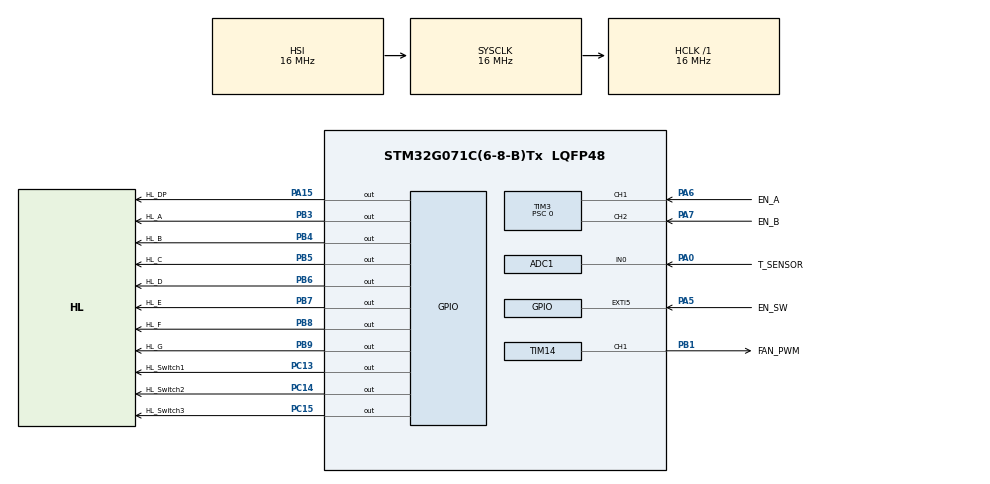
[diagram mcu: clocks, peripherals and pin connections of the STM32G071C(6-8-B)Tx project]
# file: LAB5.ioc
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ADC1.Channel-0\#ChannelRegularConversion=ADC_CHANNEL_0
ADC1.NbrOfConversionFlag=1
ADC1.Rank-0\#ChannelRegularConversion=1
ADC1.SamplingTime-0\#ChannelRegularConversion=ADC_SAMPLINGTIME_COMMON_1
ADC1.SamplingTimeCommon1=ADC_SAMPLETIME_160CYCLES_5
ADC1.SelectedChannel=ADC_CHANNEL_0
ADC1.master=1
Dma.ADC1.0.Direction=DMA_PERIPH_TO_MEMORY
Dma.ADC1.0.EventEnable=DISABLE
Dma.ADC1.0.Instance=DMA1_Channel1
Dma.ADC1.0.MemDataAlignment=DMA_MDATAALIGN_HALFWORD
Dma.ADC1.0.MemInc=DMA_MINC_ENABLE
Dma.ADC1.0.Mode=DMA_CIRCULAR
Dma.ADC1.0.PeriphDataAlignment=DMA_PDATAALIGN_HALFWORD
Dma.ADC1.0.PeriphInc=DMA_PINC_DISABLE
Dma.ADC1.0.Polarity=HAL_DMAMUX_REQ_GEN_RISING
Dma.ADC1.0.Priority=DMA_PRIORITY_LOW
Dma.ADC1.0.RequestNumber=1
Dma.ADC1.0.SignalID=NONE
Dma.ADC1.0.SyncEnable=DISABLE
Dma.ADC1.0.SyncPolarity=HAL_DMAMUX_SYNC_NO_EVENT
Dma.ADC1.0.SyncRequestNumber=1
Dma.ADC1.0.SyncSignalID=NONE
Dma.Request0=ADC1
Mcu.Family=STM32G0
Mcu.Name=STM32G071C(6-8-B)Tx
Mcu.Package=LQFP48
NVIC.DMA1_Channel1_IRQn=true\:0\:0\:false\:false\:true\:false\:true\:true
NVIC.EXTI4_15_IRQn=true\:0\:0\:false\:false\:true\:true\:true\:true
NVIC.TIM14_IRQn=true\:0\:0\:false\:false\:true\:true\:true\:true
NVIC.TIM2_IRQn=true\:0\:0\:false\:false\:true\:true\:true\:true
NVIC.TIM3_IRQn=true\:0\:0\:false\:false\:true\:true\:true\:true
NVIC.TIM6_DAC_LPTIM1_IRQn=true\:0\:0\:false\:false\:true\:true\:true\:true
PA0.GPIO_Label=T_SENSOR
PA0.Mode=IN0
PA0.Signal=ADC1_IN0
PA15.GPIO_Label=HL_DP
PA15.GPIO_ModeDefaultOutputPP=GPIO_MODE_OUTPUT_OD
PA15.GPIO_PuPd=GPIO_PULLUP
PA15.Signal=GPIO_Output
PA5.GPIO_Label=EN_SW
PA5.GPIO_ModeDefaultEXTI=GPIO_MODE_IT_RISING_FALLING
PA5.GPIO_PuPd=GPIO_PULLDOWN
PA5.Signal=GPXTI5
PA6.GPIO_Label=EN_A
PA6.GPIO_PuPd=GPIO_PULLUP
PA6.Signal=S_TIM3_CH1
PA7.GPIO_Label=EN_B
PA7.GPIO_PuPd=GPIO_PULLUP
PA7.Signal=S_TIM3_CH2
PB1.GPIO_Label=FAN_PWM
PB1.Signal=S_TIM14_CH1
PB3.GPIO_Label=HL_A
PB3.GPIO_ModeDefaultOutputPP=GPIO_MODE_OUTPUT_OD
PB3.GPIO_PuPd=GPIO_PULLUP
PB3.Signal=GPIO_Output
PB4.GPIO_Label=HL_B
PB4.GPIO_ModeDefaultOutputPP=GPIO_MODE_OUTPUT_OD
PB4.GPIO_PuPd=GPIO_PULLUP
PB4.Signal=GPIO_Output
PB5.GPIO_Label=HL_C
PB5.GPIO_ModeDefaultOutputPP=GPIO_MODE_OUTPUT_OD
PB5.GPIO_PuPd=GPIO_PULLUP
PB5.Signal=GPIO_Output
PB6.GPIO_Label=HL_D
PB6.GPIO_ModeDefaultOutputPP=GPIO_MODE_OUTPUT_OD
PB6.GPIO_PuPd=GPIO_PULLUP
PB6.Signal=GPIO_Output
PB7.GPIO_Label=HL_E
PB7.GPIO_ModeDefaultOutputPP=GPIO_MODE_OUTPUT_OD
PB7.GPIO_PuPd=GPIO_PULLUP
PB7.GPIO_Speed=GPIO_SPEED_FREQ_LOW
PB7.Signal=GPIO_Output
PB8.GPIO_Label=HL_F
PB8.GPIO_ModeDefaultOutputPP=GPIO_MODE_OUTPUT_OD
PB8.GPIO_PuPd=GPIO_PULLUP
PB8.Signal=GPIO_Output
PB9.GPIO_Label=HL_G
PB9.GPIO_ModeDefaultOutputPP=GPIO_MODE_OUTPUT_OD
PB9.GPIO_PuPd=GPIO_PULLUP
PB9.Signal=GPIO_Output
PC13.GPIO_Label=HL_Switch1
PC13.GPIO_ModeDefaultOutputPP=GPIO_MODE_OUTPUT_OD
PC13.GPIO_PuPd=GPIO_PULLUP
PC13.Signal=GPIO_Output
PC14-OSC32_IN\ (PC14).GPIO_Label=HL_Switch2
PC14-OSC32_IN\ (PC14).GPIO_ModeDefaultOutputPP=GPIO_MODE_OUTPUT_OD
PC14-OSC32_IN\ (PC14).GPIO_PuPd=GPIO_PULLUP
PC14-OSC32_IN\ (PC14).Signal=GPIO_Output
PC15-OSC32_OUT\ (PC15).GPIO_Label=HL_Switch3
PC15-OSC32_OUT\ (PC15).GPIO_ModeDefaultOutputPP=GPIO_MODE_OUTPUT_OD
PC15-OSC32_OUT\ (PC15).GPIO_PuPd=GPIO_PULLUP
PC15-OSC32_OUT\ (PC15).Signal=GPIO_Output
ProjectManager.HeapSize=0x200
ProjectManager.StackSize=0x400
ProjectManager.TargetToolchain=STM32CubeIDE
RCC.AHBFreq_Value=16000000
RCC.CortexFreq_Value=16000000
RCC.EXTERNAL_CLOCK_VALUE=48000
RCC.HCLKFreq_Value=16000000
RCC.HSE_VALUE=8000000
RCC.HSI_VALUE=16000000
RCC.LSE_VALUE=32768
RCC.SYSCLKFreq_VALUE=16000000
RCC.VCOOutputFreq_Value=128000000
SH.S_TIM14_CH1.0=TIM14_CH1,PWM Generation1 CH1
SH.S_TIM3_CH1.0=TIM3_CH1,Encoder_Interface
SH.S_TIM3_CH2.0=TIM3_CH2,Encoder_Interface
TIM14.Channel=TIM_CHANNEL_1
TIM14.Period=1000-1
TIM14.Prescaler=16-1
TIM2.Period=1000-1
TIM2.Prescaler=1600-1
TIM3.Period=65535
TIM3.Prescaler=0
TIM6.Period=10
TIM6.Prescaler=8000-1
VP_TIM14_VS_ClockSourceINT.Mode=Enable_Timer
VP_TIM2_VS_ClockSourceINT.Mode=Internal
VP_TIM6_VS_ClockSourceINT.Mode=Enable_Timer
board=custom

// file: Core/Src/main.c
/* USER CODE BEGIN Header */
/**
  ******************************************************************************
  * @file           : main.c
  * @brief          : Main program body
  ******************************************************************************
  * @attention
  *
  * Copyright (c) 2023 STMicroelectronics.
  * All rights reserved.
  *
  * This software is licensed under terms that can be found in the LICENSE file
  * in the root directory of this software component.
  * If no LICENSE file comes with this software, it is provided AS-IS.
  *
  ******************************************************************************
  */
/* USER CODE END Header */
#include "main.h"

/* USER CODE BEGIN Includes */
#include "filter_sma.h"
/* USER CODE END Includes */

/* USER CODE BEGIN PD */
#define A 0.0000264f
#define B 0.0024f
#define C 112.69f

#define PID_FAN_CYCLE_MAX 1000
#define PID_FAN_CYCLE_MIN 50
#define PID_FAN_CYCLE_START 100

#define MENU_POS_MAX 5
#define MENU_POS_MIN 1

#define NULL_FLASH 0xffffffff
#define NUM_SETTING 4

/* USER CODE END PD */

ADC_HandleTypeDef hadc1;
DMA_HandleTypeDef hdma_adc1;

TIM_HandleTypeDef htim2;
TIM_HandleTypeDef htim3;
TIM_HandleTypeDef htim6;
TIM_HandleTypeDef htim14;

void SystemClock_Config(void);
static void MX_GPIO_Init(void);
static void MX_DMA_Init(void);
static void MX_ADC1_Init(void);
static void MX_TIM2_Init(void);
static void MX_TIM3_Init(void);
static void MX_TIM6_Init(void);
static void MX_TIM14_Init(void);
/* USER CODE BEGIN PFP */
void LedPrint();
/* USER CODE END PFP */

/* USER CODE BEGIN 0 */

//---------------------------
float pwmFAN = 100;
float targetTemp = 20;
float targetTempEncoder = 20;

float Kp = 50;
float Ki = 0;
float Kd = 0;

int16_t KEncoder = 0;

float errPrev = 0;
float errCur = 0;
float errInteg = 0;
float errDiff = 0;

uint32_t timeCountMs = 0;

//----------------------------

uint16_t ADC_raw[1];
float temp = 0;
uint8_t sch_100ms = 255;

//----------------------------

uint8_t R1 = 0, R2 = 0, R3 = 0;

uint8_t segmentNumber[]={
		0x3f, // 0
		0x06, // 1
		0x5b, // 2
		0x4f, // 3
		0x66, // 4
		0x6d, // 5
		0x7d, // 6
		0x07, // 7
		0x7f, // 8
		0x67, // 9
		0x40, // - (10)
		0x00, // off (11)
		0x6d, // S (12)
		0x77, // A (13)
		0x3e, // V - U (14)
		0x73, // p (15)
		0x5e, // d	(16)
		0x30 // I (17)
};

//------------------------------

uint32_t prevCounter = 0;

uint8_t posMenu = 1;
uint8_t posMenuPID_Edit = 1;
uint8_t flagMenu = 0;
uint8_t flagMenuEditHidden = 0;
uint8_t flagMenuEdit = 0;
uint8_t flagMenuEditPID = 0;
uint8_t flagDot[3] = {0,0,0};

uint32_t counthidden = 0;

//------------------------------

const uint32_t flashAddress = 0x0801f800;

//------------------------------

void TempMeasure()
{
	uint16_t buf = 0;

	HAL_ADC_Start_IT(&hadc1);
	buf = ADC_raw[0];
	buf = Filter_Sma(ADC_raw[0]);
	temp = A*buf*buf;
	temp+= B*buf;
	temp-= C;

	sch_100ms = 0;

}

void FanPIDRegulator()
{
	float timeCountSec = (float)timeCountMs / 1000;

	errCur = temp - targetTemp;

	if ( (((Ki*errInteg)<=PID_FAN_CYCLE_MAX) && (errCur >=0)) || (((Ki*errInteg)>=PID_FAN_CYCLE_MIN) && (errCur < 0)) )
	{
		errInteg += errCur*timeCountSec;
	}

	errDiff = (errCur - errPrev)/timeCountSec;

	pwmFAN = Kp*errCur + Ki*errCur + Kd*errCur;

	if (pwmFAN < PID_FAN_CYCLE_MIN)
	{
		pwmFAN = PID_FAN_CYCLE_MIN;
	}
	if (pwmFAN > PID_FAN_CYCLE_MAX)
	{
		pwmFAN = PID_FAN_CYCLE_MAX;
	}

	//TIM14->CCR1 = (uint16_t)pwmFAN;
	errPrev = errCur;
	timeCountMs = 0;

}

void SetNumber(uint8_t number, uint8_t flag)
{
	number = segmentNumber[number];

	HAL_GPIO_WritePin(GPIOB, HL_A_Pin, !((number>>0)&0x01));
	HAL_GPIO_WritePin(GPIOB, HL_B_Pin, !((number>>1)&0x01));
	HAL_GPIO_WritePin(GPIOB, HL_C_Pin, !((number>>2)&0x01));
	HAL_GPIO_WritePin(GPIOB, HL_D_Pin, !((number>>3)&0x01));
	HAL_GPIO_WritePin(GPIOB, HL_E_Pin, !((number>>4)&0x01));
	HAL_GPIO_WritePin(GPIOB, HL_F_Pin, !((number>>5)&0x01));
	HAL_GPIO_WritePin(GPIOB, HL_G_Pin, !((number>>6)&0x01));
	HAL_GPIO_WritePin(GPIOA,HL_DP_Pin, flag==1 ? GPIO_PIN_RESET : GPIO_PIN_SET);

}

void LoadSetting()
{
	uint32_t address = flashAddress;
	uint32_t data[NUM_SETTING] = {0,};

	for(uint16_t i = 0;i<NUM_SETTING;i++)
	{
		uint32_t buf = *(uint32_t*)address;
		if (buf != NULL_FLASH)
		{
			data[i] = buf;
		}
		address+=8;
		//address+=4;
	}

	targetTemp = (data[0]!=0)?((float)data[0]/10):20;
	targetTempEncoder = targetTemp;
	Kp = (data[1]!=0)?data[1]:50;
	Ki = (data[2]!=0)?data[2]:0;
	Kd = (data[3]!=0)?data[3]:0;
}

void SaveSetting()
{
	static FLASH_EraseInitTypeDef EraseInitStruct;
	EraseInitStruct.TypeErase = FLASH_TYPEERASE_PAGES;
	EraseInitStruct.Page = FLASH_PAGE_NB-1;
	EraseInitStruct.NbPages = 1;
	uint32_t pageErr = 0;

	HAL_FLASH_Unlock();

	HAL_FLASHEx_Erase(&EraseInitStruct, &pageErr);

	uint32_t address = flashAddress;
	//uint64_t data[NUM_SETTING] = {targetTemp*10,Kp,Ki,Kd};

	uint32_t data[NUM_SETTING] = {targetTemp*10,Kp,Ki,Kd};

	for(uint16_t i = 0;i<NUM_SETTING;i++)
	{
		//uint64_t buf = (data[i*2] + (data[i*2+1]<<32));
		HAL_FLASH_Program(FLASH_TYPEPROGRAM_DOUBLEWORD, address, data[i]);
		//HAL_FLASH_Program(FLASH_TYPEPROGRAM_DOUBLEWORD, address, buf);

		address +=8;
	}

	HAL_FLASH_Lock();

}

void RecordKEncoder()
{
	switch (posMenuPID_Edit)
		{
			case 1:
			{
				KEncoder = (int16_t)Kp;
				break;
			}
			case 2:
			{
				KEncoder = (int16_t)Ki;
				break;
			}
			case 3:
			{
				KEncoder = (int16_t)Kd;
				break;
			}
		}
}

void ApplyPIDSetting()
{
	switch (posMenuPID_Edit)
	{
		case 1:
		{
			Kp = KEncoder;
			break;
		}
		case 2:
		{
			Ki = KEncoder;
			break;
		}
		case 3:
		{
			Kd = KEncoder;
			break;
		}
	}
}

void EnterButton()
{
	if (flagMenu == 1)
	{
		flagMenu = 0;
		if (posMenu == 3)
		{
			flagMenuEditHidden = 0;
			flagMenuEdit = 1;

		}
		return;
	}
	if (flagMenuEditPID == 1)
	{
		ApplyPIDSetting();
		flagMenuEdit = 0;
		flagMenuEditHidden = 0;
		flagMenuEditPID = 0;
		flagMenu = 1;
		return;
	}
	switch (posMenu)
	{
		case 1:
		{
			break;
		}
		case 2:
		{
			break;
		}
		case 3:
		{
			flagMenuEdit = 0;
			flagMenuEditHidden = 0;
			flagMenu = 1;
			targetTemp = targetTempEncoder;
			break;
		}
		case 4:
		{
			RecordKEncoder();
			flagMenuEdit = 1;
			flagMenuEditPID = 1;
			break;
		}
		case 5:
		{
			SaveSetting();
			flagMenu = 1;
		}
	}

}

void LedPrint()
{
	if (flagMenu == 1)
	{
		R3 = 10; // symbol = '-'
		R1 = 10;
		R2 = posMenu;
		flagDot[1] = 0;
		return;
	}
	if (flagMenuEditHidden == 1)
	{
		R1 = 11;
		R2 = 11;
		R3 = 11;
		flagDot[1] = 0;
		return;
	}
	if (flagMenuEditPID == 1)
	{
		int16_t buf = KEncoder;
		R1 = abs(buf%10);
		if (buf < 0 && buf>-10)
		{
			R2 = 10;
			R3 = 11;
			return;
		}
		if (buf<0 && buf>-100)
		{
			R2 = abs(buf/10);
			R3 = 10;
			return;
		}
		if (buf<10)
		{
			R2 = 11;
			R3 = 11;
			return;
		}
		if (buf < 100)
		{
			R2 = (buf%100)/10;
			R3 = 11;
			return;
		}
		R2 = (buf%100)/10;
		R3 = buf/100;
		return;
	}

	switch (posMenu)
	{
		case 1:
		{
			uint16_t num = temp*10;
			R1 = num%10;
			R2 = (num%100)/10;
			if (num<100)
				R3 = 11;
			else
				R3 = num/100;
			flagDot[1] = 1;
			break;
		}
		case 2:
		{
			uint16_t buf = TIM14->CCR1 / 10;
			R1 = buf%10;
			if (buf<10)
				R2 = 11;
			else
				R2 = (buf%100)/10;
			if (buf/100 == 0)
				R3 = 11;
			else
				R3 = buf/100;
			flagDot[1] = 0;
			break;
		}
		case 3:
		{
			uint16_t target = targetTempEncoder*10;
			R1 = target%10;
			R2 = (target%100)/10;
			if (target<100)
				R3 = 11;
			else
				R3 = target/100;
			flagDot[1] = 1;
			break;
		}
		case 4:
		{
			R1 = 11;
			R3 = 11;

			R2 = 14+posMenuPID_Edit;
			break;
		}
		case 5:
		{
			R1 = 14;
			R2 = 13;
			R3 = 12;
			break;
		}
	}

}

void Encoder()
{
	uint32_t currCounter = __HAL_TIM_GET_COUNTER(&htim3);
	currCounter = 32767 - ((currCounter-1)&0xFFFF)/2;
	if (currCounter > 32768/2)
	{
		currCounter = currCounter - 32768;
	}
	if (currCounter != prevCounter)
	{
		uint32_t delta = currCounter - prevCounter;
		prevCounter = currCounter;
		if (delta>10)
		{
			if (flagMenu == 0 && posMenu == 3)
			{
				targetTempEncoder = (targetTempEncoder >= 99.9) ? 99.9 : targetTempEncoder+0.1;
				return;
			}
			if (flagMenu == 0 && posMenu == 4 && flagMenuEditPID == 0)
			{
				posMenuPID_Edit = (posMenuPID_Edit >= 3) ? 3 : posMenuPID_Edit+1;
				return;
			}
			if (flagMenuEditPID == 1)
			{
				KEncoder = (KEncoder >= 999) ? 999 : KEncoder+1;
				return;
			}
			posMenu = (posMenu >= MENU_POS_MAX) ? MENU_POS_MAX : posMenu+1;
		}
		if (delta<-10)
		{
			if (flagMenu == 0 && posMenu == 3)
			{
				targetTempEncoder = (targetTempEncoder <= 0) ? 0 : targetTempEncoder-0.1;
				return;
			}
			if (flagMenu == 0 && posMenu == 4 && flagMenuEditPID == 0)
			{
				posMenuPID_Edit = (posMenuPID_Edit <= 1) ? 1 : posMenuPID_Edit-1;
				return;
			}
			if (flagMenuEditPID == 1)
			{
				KEncoder = (KEncoder <= 0) ? 0 : KEncoder-1;
				return;
			}
			posMenu = posMenu <= MENU_POS_MIN ? MENU_POS_MIN : posMenu-1;
		}
		flagMenu = 1;
	}
}

/* USER CODE END 0 */

int main(void)
{

  /* MCU Configuration--------------------------------------------------------*/

  /* Reset of all peripherals, Initializes the Flash interface and the Systick. */
  HAL_Init();

  /* Configure the system clock */
  SystemClock_Config();

  /* Initialize all configured peripherals */
  MX_GPIO_Init();
  MX_DMA_Init();
  MX_ADC1_Init();
  MX_TIM2_Init();
  MX_TIM3_Init();
  MX_TIM6_Init();
  MX_TIM14_Init();
  /* USER CODE BEGIN 2 */
  HAL_ADCEx_Calibration_Start(&hadc1);

  HAL_ADC_Start_DMA(&hadc1,(uint32_t*)ADC_raw,1);

  HAL_TIM_Base_Start_IT(&htim2);

  HAL_TIM_Encoder_Start(&htim3,TIM_CHANNEL_ALL);

  HAL_TIM_PWM_Start_IT(&htim14,TIM_CHANNEL_1);

  TIM14->CCR1=PID_FAN_CYCLE_START;

  HAL_GPIO_WritePin(GPIOB,HL_A_Pin|HL_B_Pin|HL_C_Pin|HL_D_Pin|HL_E_Pin|HL_F_Pin|HL_G_Pin,GPIO_PIN_SET);
  HAL_GPIO_WritePin(GPIOA,HL_DP_Pin,GPIO_PIN_SET);
  HAL_GPIO_WritePin(GPIOC,HL_Switch1_Pin|HL_Switch2_Pin|HL_Switch3_Pin,GPIO_PIN_RESET);

  HAL_TIM_Base_Start_IT(&htim6);

  LoadSetting();

  /* USER CODE END 2 */

  /* Infinite loop */
  while (1)
  {

    /* USER CODE BEGIN 3 */
	  if (sch_100ms)
	  	{
		  TempMeasure();
	  	}
	  FanPIDRegulator();

	  Encoder();
	  LedPrint();

  }
  /* USER CODE END 3 */
}

void SystemClock_Config(void)
{
  RCC_OscInitTypeDef RCC_OscInitStruct = {0};
  RCC_ClkInitTypeDef RCC_ClkInitStruct = {0};

  /** Configure the main internal regulator output voltage
  */
  HAL_PWREx_ControlVoltageScaling(PWR_REGULATOR_VOLTAGE_SCALE1);

  /** Initializes the RCC Oscillators according to the specified parameters
  * in the RCC_OscInitTypeDef structure.
  */
  RCC_OscInitStruct.OscillatorType = RCC_OSCILLATORTYPE_HSI;
  RCC_OscInitStruct.HSIState = RCC_HSI_ON;
  RCC_OscInitStruct.HSIDiv = RCC_HSI_DIV1;
  RCC_OscInitStruct.HSICalibrationValue = RCC_HSICALIBRATION_DEFAULT;
  RCC_OscInitStruct.PLL.PLLState = RCC_PLL_NONE;
  if (HAL_RCC_OscConfig(&RCC_OscInitStruct) != HAL_OK)
  {
    Error_Handler();
  }

  /** Initializes the CPU, AHB and APB buses clocks
  */
  RCC_ClkInitStruct.ClockType = RCC_CLOCKTYPE_HCLK|RCC_CLOCKTYPE_SYSCLK
                              |RCC_CLOCKTYPE_PCLK1;
  RCC_ClkInitStruct.SYSCLKSource = RCC_SYSCLKSOURCE_HSI;
  RCC_ClkInitStruct.AHBCLKDivider = RCC_SYSCLK_DIV1;
  RCC_ClkInitStruct.APB1CLKDivider = RCC_HCLK_DIV1;

  if (HAL_RCC_ClockConfig(&RCC_ClkInitStruct, FLASH_LATENCY_0) != HAL_OK)
  {
    Error_Handler();
  }
}

static void MX_ADC1_Init(void)
{

  ADC_ChannelConfTypeDef sConfig = {0};

  /** Configure the global features of the ADC (Clock, Resolution, Data Alignment and number of conversion)
  */
  hadc1.Instance = ADC1;
  hadc1.Init.ClockPrescaler = ADC_CLOCK_SYNC_PCLK_DIV2;
  hadc1.Init.Resolution = ADC_RESOLUTION_12B;
  hadc1.Init.DataAlign = ADC_DATAALIGN_RIGHT;
  hadc1.Init.ScanConvMode = ADC_SCAN_DISABLE;
  hadc1.Init.EOCSelection = ADC_EOC_SINGLE_CONV;
  hadc1.Init.LowPowerAutoWait = DISABLE;
  hadc1.Init.LowPowerAutoPowerOff = DISABLE;
  hadc1.Init.ContinuousConvMode = DISABLE;
  hadc1.Init.NbrOfConversion = 1;
  hadc1.Init.DiscontinuousConvMode = DISABLE;
  hadc1.Init.ExternalTrigConv = ADC_SOFTWARE_START;
  hadc1.Init.ExternalTrigConvEdge = ADC_EXTERNALTRIGCONVEDGE_NONE;
  hadc1.Init.DMAContinuousRequests = DISABLE;
  hadc1.Init.Overrun = ADC_OVR_DATA_PRESERVED;
  hadc1.Init.SamplingTimeCommon1 = ADC_SAMPLETIME_160CYCLES_5;
  hadc1.Init.SamplingTimeCommon2 = ADC_SAMPLETIME_1CYCLE_5;
  hadc1.Init.OversamplingMode = DISABLE;
  hadc1.Init.TriggerFrequencyMode = ADC_TRIGGER_FREQ_HIGH;
  if (HAL_ADC_Init(&hadc1) != HAL_OK)
  {
    Error_Handler();
  }

  /** Configure Regular Channel
  */
  sConfig.Channel = ADC_CHANNEL_0;
  sConfig.Rank = ADC_REGULAR_RANK_1;
  sConfig.SamplingTime = ADC_SAMPLINGTIME_COMMON_1;
  if (HAL_ADC_ConfigChannel(&hadc1, &sConfig) != HAL_OK)
  {
    Error_Handler();
  }

}

static void MX_TIM2_Init(void)
{

  TIM_ClockConfigTypeDef sClockSourceConfig = {0};
  TIM_MasterConfigTypeDef sMasterConfig = {0};

  htim2.Instance = TIM2;
  htim2.Init.Prescaler = 1600-1;
  htim2.Init.CounterMode = TIM_COUNTERMODE_UP;
  htim2.Init.Period = 1000-1;
  htim2.Init.ClockDivision = TIM_CLOCKDIVISION_DIV1;
  htim2.Init.AutoReloadPreload = TIM_AUTORELOAD_PRELOAD_DISABLE;
  if (HAL_TIM_Base_Init(&htim2) != HAL_OK)
  {
    Error_Handler();
  }
  sClockSourceConfig.ClockSource = TIM_CLOCKSOURCE_INTERNAL;
  if (HAL_TIM_ConfigClockSource(&htim2, &sClockSourceConfig) != HAL_OK)
  {
    Error_Handler();
  }
  sMasterConfig.MasterOutputTrigger = TIM_TRGO_RESET;
  sMasterConfig.MasterSlaveMode = TIM_MASTERSLAVEMODE_DISABLE;
  if (HAL_TIMEx_MasterConfigSynchronization(&htim2, &sMasterConfig) != HAL_OK)
  {
    Error_Handler();
  }

}

static void MX_TIM3_Init(void)
{

  TIM_Encoder_InitTypeDef sConfig = {0};
  TIM_MasterConfigTypeDef sMasterConfig = {0};

  htim3.Instance = TIM3;
  htim3.Init.Prescaler = 0;
  htim3.Init.CounterMode = TIM_COUNTERMODE_UP;
  htim3.Init.Period = 65535;
  htim3.Init.ClockDivision = TIM_CLOCKDIVISION_DIV1;
  htim3.Init.AutoReloadPreload = TIM_AUTORELOAD_PRELOAD_DISABLE;
  sConfig.EncoderMode = TIM_ENCODERMODE_TI1;
  sConfig.IC1Polarity = TIM_ICPOLARITY_RISING;
  sConfig.IC1Selection = TIM_ICSELECTION_DIRECTTI;
  sConfig.IC1Prescaler = TIM_ICPSC_DIV1;
  sConfig.IC1Filter = 0;
  sConfig.IC2Polarity = TIM_ICPOLARITY_RISING;
  sConfig.IC2Selection = TIM_ICSELECTION_DIRECTTI;
  sConfig.IC2Prescaler = TIM_ICPSC_DIV1;
  sConfig.IC2Filter = 0;
  if (HAL_TIM_Encoder_Init(&htim3, &sConfig) != HAL_OK)
  {
    Error_Handler();
  }
  sMasterConfig.MasterOutputTrigger = TIM_TRGO_RESET;
  sMasterConfig.MasterSlaveMode = TIM_MASTERSLAVEMODE_DISABLE;
  if (HAL_TIMEx_MasterConfigSynchronization(&htim3, &sMasterConfig) != HAL_OK)
  {
    Error_Handler();
  }

}

static void MX_TIM6_Init(void)
{

  TIM_MasterConfigTypeDef sMasterConfig = {0};

  htim6.Instance = TIM6;
  htim6.Init.Prescaler = 8000-1;
  htim6.Init.CounterMode = TIM_COUNTERMODE_UP;
  htim6.Init.Period = 10;
  htim6.Init.AutoReloadPreload = TIM_AUTORELOAD_PRELOAD_DISABLE;
  if (HAL_TIM_Base_Init(&htim6) != HAL_OK)
  {
    Error_Handler();
  }
  sMasterConfig.MasterOutputTrigger = TIM_TRGO_RESET;
  sMasterConfig.MasterSlaveMode = TIM_MASTERSLAVEMODE_DISABLE;
  if (HAL_TIMEx_MasterConfigSynchronization(&htim6, &sMasterConfig) != HAL_OK)
  {
    Error_Handler();
  }

}

static void MX_TIM14_Init(void)
{

  TIM_OC_InitTypeDef sConfigOC = {0};

  htim14.Instance = TIM14;
  htim14.Init.Prescaler = 16-1;
  htim14.Init.CounterMode = TIM_COUNTERMODE_UP;
  htim14.Init.Period = 1000-1;
  htim14.Init.ClockDivision = TIM_CLOCKDIVISION_DIV1;
  htim14.Init.AutoReloadPreload = TIM_AUTORELOAD_PRELOAD_DISABLE;
  if (HAL_TIM_Base_Init(&htim14) != HAL_OK)
  {
    Error_Handler();
  }
  if (HAL_TIM_PWM_Init(&htim14) != HAL_OK)
  {
    Error_Handler();
  }
  sConfigOC.OCMode = TIM_OCMODE_PWM1;
  sConfigOC.Pulse = 0;
  sConfigOC.OCPolarity = TIM_OCPOLARITY_HIGH;
  sConfigOC.OCFastMode = TIM_OCFAST_DISABLE;
  if (HAL_TIM_PWM_ConfigChannel(&htim14, &sConfigOC, TIM_CHANNEL_1) != HAL_OK)
  {
    Error_Handler();
  }
  HAL_TIM_MspPostInit(&htim14);

}

static void MX_DMA_Init(void)
{

  /* DMA controller clock enable */
  __HAL_RCC_DMA1_CLK_ENABLE();

  /* DMA interrupt init */
  /* DMA1_Channel1_IRQn interrupt configuration */
  HAL_NVIC_SetPriority(DMA1_Channel1_IRQn, 0, 0);
  HAL_NVIC_EnableIRQ(DMA1_Channel1_IRQn);

}

static void MX_GPIO_Init(void)
{
  GPIO_InitTypeDef GPIO_InitStruct = {0};

  /* GPIO Ports Clock Enable */
  __HAL_RCC_GPIOC_CLK_ENABLE();
  __HAL_RCC_GPIOA_CLK_ENABLE();
  __HAL_RCC_GPIOB_CLK_ENABLE();

  /*Configure GPIO pin Output Level */
  HAL_GPIO_WritePin(GPIOC, HL_Switch1_Pin|HL_Switch2_Pin|HL_Switch3_Pin, GPIO_PIN_RESET);

  /*Configure GPIO pin Output Level */
  HAL_GPIO_WritePin(HL_DP_GPIO_Port, HL_DP_Pin, GPIO_PIN_RESET);

  /*Configure GPIO pin Output Level */
  HAL_GPIO_WritePin(GPIOB, HL_A_Pin|HL_B_Pin|HL_C_Pin|HL_D_Pin
                          |HL_E_Pin|HL_F_Pin|HL_G_Pin, GPIO_PIN_RESET);

  /*Configure GPIO pins : HL_Switch1_Pin HL_Switch2_Pin HL_Switch3_Pin */
  GPIO_InitStruct.Pin = HL_Switch1_Pin|HL_Switch2_Pin|HL_Switch3_Pin;
  GPIO_InitStruct.Mode = GPIO_MODE_OUTPUT_OD;
  GPIO_InitStruct.Pull = GPIO_PULLUP;
  GPIO_InitStruct.Speed = GPIO_SPEED_FREQ_LOW;
  HAL_GPIO_Init(GPIOC, &GPIO_InitStruct);

  /*Configure GPIO pin : EN_SW_Pin */
  GPIO_InitStruct.Pin = EN_SW_Pin;
  GPIO_InitStruct.Mode = GPIO_MODE_IT_RISING_FALLING;
  GPIO_InitStruct.Pull = GPIO_PULLDOWN;
  HAL_GPIO_Init(EN_SW_GPIO_Port, &GPIO_InitStruct);

  /*Configure GPIO pin : HL_DP_Pin */
  GPIO_InitStruct.Pin = HL_DP_Pin;
  GPIO_InitStruct.Mode = GPIO_MODE_OUTPUT_OD;
  GPIO_InitStruct.Pull = GPIO_PULLUP;
  GPIO_InitStruct.Speed = GPIO_SPEED_FREQ_LOW;
  HAL_GPIO_Init(HL_DP_GPIO_Port, &GPIO_InitStruct);

  /*Configure GPIO pins : HL_A_Pin HL_B_Pin HL_C_Pin HL_D_Pin
                           HL_E_Pin HL_F_Pin HL_G_Pin */
  GPIO_InitStruct.Pin = HL_A_Pin|HL_B_Pin|HL_C_Pin|HL_D_Pin
                          |HL_E_Pin|HL_F_Pin|HL_G_Pin;
  GPIO_InitStruct.Mode = GPIO_MODE_OUTPUT_OD;
  GPIO_InitStruct.Pull = GPIO_PULLUP;
  GPIO_InitStruct.Speed = GPIO_SPEED_FREQ_LOW;
  HAL_GPIO_Init(GPIOB, &GPIO_InitStruct);

  /* EXTI interrupt init*/
  HAL_NVIC_SetPriority(EXTI4_15_IRQn, 0, 0);
  HAL_NVIC_EnableIRQ(EXTI4_15_IRQn);

}

/* USER CODE BEGIN 4 */
void HAL_TIM_PeriodElapsedCallback(TIM_HandleTypeDef *htim)
{
	if (htim->Instance == TIM2)
	{
		sch_100ms = 255;
	}
	if (htim->Instance == TIM14)
	{
		TIM14->CCR1 = (uint16_t)pwmFAN;
		++timeCountMs;
	}

}

void HAL_GPIO_EXTI_Callback(uint16_t GPIO_Pin)
{

}

/* USER CODE END 4 */

void Error_Handler(void)
{
  __disable_irq();
  while (1)
  {
  }
}
